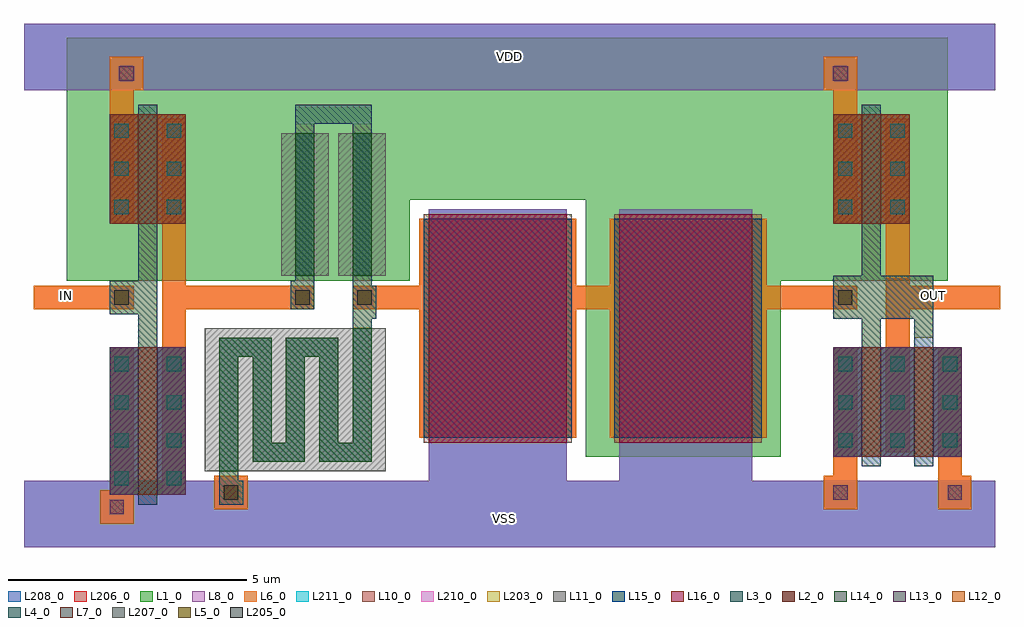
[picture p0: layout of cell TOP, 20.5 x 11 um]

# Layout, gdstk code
from math import pi, radians
import gdstk
lib = gdstk.Library(unit=1e-6, precision=1e-09)
def R(c, l, rs):  # rectangles x0, y0, x1, y1
    for r in rs: c.add(gdstk.rectangle(r[:2], r[2:], *l))
def A(c, l, x, y, w, h, nx, ny, dx, dy):  # array of equal rectangles
    R(c, l, [(x+i*dx, y+j*dy, x+i*dx+w, y+j*dy+h) for i in range(nx) for j in range(ny)])
def P(c, l, *ps):  # polygons
    for p in ps: c.add(gdstk.Polygon(p, *l))
L1_0 = (1, 0)
L2_0 = (2, 0)
L3_0 = (3, 0)
L4_0 = (4, 0)
L5_0 = (5, 0)
L6_0 = (6, 0)
L7_0 = (7, 0)
L8_0 = (8, 0)
L10_0 = (10, 0)
L11_0 = (11, 0)
L12_0 = (12, 0)
L13_0 = (13, 0)
L14_0 = (14, 0)
L15_0 = (15, 0)
L16_0 = (16, 0)
L203_0 = (203, 0)
L205_0 = (205, 0)
L206_0 = (206, 0)
L207_0 = (207, 0)
L208_0 = (208, 0)
L210_0 = (210, 0)
L211_0 = (211, 0)

d_poly_res_substrate = lib.new_cell('D$POLY_RES_SUBSTRATE')
R(d_poly_res_substrate, L203_0, [(1.5,-1.6,1.7,-1.2), (-1.7,1.2,-1.5,1.6)])

res_meander = lib.new_cell('RES_MEANDER')
R(res_meander, L11_0, [(0.2,-3.3,3.2,0.5)])
P(res_meander, L14_0, [(0.4,-1.6),(0.4,-0.5),(2.6,-0.5),(2.6,-0.2),(0.2,-0.2),(0.2,0.2),(3,0.2),(3,-0.9),(0.8,-0.9),(0.8,-1.2),(3,-1.2),(3,-1.6)],
  [(0.4,-3),(0.4,-1.9),(2.6,-1.9),(2.6,-1.6),(3,-1.6),(3,-2.3),(0.8,-2.3),(0.8,-2.6),(3.2,-2.6),(3.2,-3)])
res_meander.add(gdstk.FlexPath([(0,0),(2.8,0),(2.8,-0.7),(0.6,-0.7),(0.6,-1.4),(2.8,-1.4),(2.8,-2.1),(0.6,-2.1),(0.6,-2.8),(3.4,-2.8)], 0.4, ends="flush", simple_path=True, layer=3, datatype=0))  # L3_0
res_meander.add(gdstk.Reference(d_poly_res_substrate, (1.7,-1.4)))

d_poly_res_nwell = lib.new_cell('D$POLY_RES_NWELL')
R(d_poly_res_nwell, L203_0, [(-1.7,-0.2,-1.5,0.2), (1.5,-0.2,1.7,0.2)])

res = lib.new_cell('RES')
R(res, L11_0, [(0.2,-0.5,3.2,0.5)])
R(res, L14_0, [(0.2,-0.2,3.2,0.2)])
res.add(gdstk.FlexPath([(0,0),(3.4,0)], 0.4, ends="flush", simple_path=True, layer=3, datatype=0))  # L3_0
res.add(gdstk.Reference(d_poly_res_nwell, (1.7,0)))

trans = lib.new_cell('TRANS')
R(trans, L2_0, [(-0.8,-1.1,0.8,1.2)])
R(trans, L3_0, [(-0.2,-1.3,0.2,1.4)])
A(trans, L4_0, -0.7, -0.9, 0.3, 0.3, 1, 3, 0, 0.8)
A(trans, L4_0, 0.4, -0.9, 0.3, 0.3, 1, 3, 0, 0.8)

d_nmos_2 = lib.new_cell('D$NMOS$2')
R(d_nmos_2, L203_0, [(-0.2,-1.55,0.2,1.55)])
R(d_nmos_2, L211_0, [(-0.8,-1.55,-0.2,1.55), (0.2,-1.55,0.8,1.55)])

trans2 = lib.new_cell('TRANS2')
R(trans2, L2_0, [(-0.8,-1.1,0.8,2)])
R(trans2, L3_0, [(-0.2,-1.3,0.2,2.2)])
A(trans2, L4_0, -0.7, -0.9, 0.3, 0.3, 1, 4, 0, 0.8)
A(trans2, L4_0, 0.4, -0.9, 0.3, 0.3, 1, 4, 0, 0.8)
R(trans2, L10_0, [(-0.2,-1.1,0.2,2)])
R(trans2, L11_0, [(-0.8,-1.1,-0.2,2), (0.2,-1.1,0.8,2)])
R(trans2, L13_0, [(-0.8,-1.1,-0.2,2), (0.2,-1.1,0.8,2)])
trans2.add(gdstk.Reference(d_nmos_2, (0,0.45)))

d_mim_cap_substrate = lib.new_cell('D$MIM_CAP_SUBSTRATE')
R(d_mim_cap_substrate, L206_0, [(-1.45,-2.3,1.45,2.3)])
R(d_mim_cap_substrate, L208_0, [(-1.45,-2.3,1.45,2.3)])

d_mim_cap_nwell = lib.new_cell('D$MIM_CAP_NWELL')
R(d_mim_cap_nwell, L206_0, [(-1.4,-2.3,1.4,2.3)])
R(d_mim_cap_nwell, L208_0, [(-1.4,-2.3,1.4,2.3)])

d_nmos = lib.new_cell('D$NMOS')
R(d_nmos, L203_0, [(-0.2,-1.15,0.2,1.15)])
R(d_nmos, L211_0, [(-0.8,-1.15,-0.2,1.15), (0.2,-1.15,0.9,1.15)])

d_nmos_1 = lib.new_cell('D$NMOS$1')
R(d_nmos_1, L203_0, [(-0.2,-1.15,0.2,1.15)])
R(d_nmos_1, L211_0, [(-0.9,-1.15,-0.2,1.15), (0.2,-1.15,0.8,1.15)])

net_top_vss = lib.new_cell('NET_TOP_VSS')
R(net_top_vss, L203_0, [(1.5,-5.5,2,-5)])
R(net_top_vss, L205_0, [(1.6,-5.4,1.9,-5.1)])
R(net_top_vss, L206_0, [(-1,-5.9,-0.3,-5.2), (1.4,-5.6,2.1,-4.9), (14.2,-5.6,14.9,-4.9), (16.6,-5.6,17.3,-4.9), (-0.8,-5.5,-0.3,-2.2), (14.4,-5,14.9,-2.2), (16.6,-5,17.1,-2.2)])
R(net_top_vss, L207_0, [(-0.8,-5.7,-0.5,-5.4), (1.6,-5.4,1.9,-5.1), (14.4,-5.4,14.7,-5.1), (16.8,-5.4,17.1,-5.1)])
R(net_top_vss, L208_0, [(-2.6,-6.4,17.8,-5), (5.9,-5.8,8.8,0.7), (9.9,-5.8,12.7,0.7)])
R(net_top_vss, L211_0, [(14.4,-4.5,15,-2.2), (16.5,-4.5,17.1,-2.2)])
net_top_vss.add(gdstk.Reference(d_mim_cap_substrate, (7.35,-1.8)))
net_top_vss.add(gdstk.Reference(d_mim_cap_nwell, (11.3,-1.8)))
net_top_vss.add(gdstk.Reference(d_nmos, (15.2,-3.35)))
net_top_vss.add(gdstk.Reference(d_nmos_1, (16.3,-3.35)))
net_top_vss.add(gdstk.Reference(d_poly_res_substrate, (3.1,-3.3), rotation=pi/2))
net_top_vss.add(gdstk.Reference(d_nmos_2, (0,-3.75)))

d_pmos = lib.new_cell('D$PMOS')
R(d_pmos, L203_0, [(-0.2,-1.15,0.2,1.15)])
R(d_pmos, L210_0, [(-0.8,-1.15,-0.2,1.15), (0.2,-1.15,0.8,1.15)])

net_top_in = lib.new_cell('NET_TOP_IN')
R(net_top_in, L203_0, [(-0.2,-2.2,0.2,0.6), (-0.8,-1.5,0.2,-0.8)])
R(net_top_in, L205_0, [(-0.7,-1.3,-0.4,-1)])
R(net_top_in, L206_0, [(-2.4,-1.4,-0.3,-0.9)])
net_top_in.add(gdstk.Reference(d_pmos, (0,1.55)))
net_top_in.add(gdstk.Reference(d_nmos_2, (0,-3.75)))

net_top__3 = lib.new_cell('NET_TOP_$3')
R(net_top__3, L203_0, [(3,-1.4,3.5,-0.8)])
R(net_top__3, L205_0, [(3.1,-1.3,3.4,-1)])
R(net_top__3, L206_0, [(0.3,-5.3,0.8,2.6), (0.7,-1.4,3.5,-0.9)])
R(net_top__3, L210_0, [(0.2,0.4,0.8,2.7)])
net_top__3.add(gdstk.Reference(d_pmos, (0,1.55)))
net_top__3.add(gdstk.Reference(d_poly_res_nwell, (3.3,0.8), rotation=pi/2))
net_top__3.add(gdstk.Reference(d_poly_res_nwell, (4.5,0.8), rotation=pi/2))
net_top__3.add(gdstk.Reference(d_nmos_2, (0,-3.75)))

net_top__4 = lib.new_cell('NET_TOP_$4')
R(net_top__4, L203_0, [(15,-2.2,15.4,0.6), (16.1,-2,16.5,-0.7), (4.3,-1.6,4.8,-0.9), (14.4,-1.6,16.5,-0.7)])
R(net_top__4, L205_0, [(4.4,-1.3,4.7,-1), (14.5,-1.3,14.8,-1)])
R(net_top__4, L206_0, [(5.7,-4.1,9,0.5), (9.7,-4.1,13,0.5), (4.3,-1.4,14.9,-0.9)])
net_top__4.add(gdstk.Reference(d_mim_cap_substrate, (7.35,-1.8)))
net_top__4.add(gdstk.Reference(d_mim_cap_nwell, (11.3,-1.8)))
net_top__4.add(gdstk.Reference(d_nmos, (15.2,-3.35)))
net_top__4.add(gdstk.Reference(d_nmos_1, (16.3,-3.35)))
net_top__4.add(gdstk.Reference(d_pmos, (15.2,1.55)))
net_top__4.add(gdstk.Reference(d_poly_res_substrate, (3.1,-3.3), rotation=pi/2))
net_top__4.add(gdstk.Reference(d_poly_res_nwell, (3.3,0.8), rotation=pi/2))
net_top__4.add(gdstk.Reference(d_poly_res_nwell, (4.5,0.8), rotation=pi/2))

net_top_out = lib.new_cell('NET_TOP_OUT')
R(net_top_out, L206_0, [(15.5,-4.4,16,2.6), (15.8,-1.4,17.9,-0.9)])
R(net_top_out, L210_0, [(15.4,0.4,16,2.7)])
R(net_top_out, L211_0, [(15.4,-4.5,16.1,-2.2)])
net_top_out.add(gdstk.Reference(d_nmos, (15.2,-3.35)))
net_top_out.add(gdstk.Reference(d_nmos_1, (16.3,-3.35)))
net_top_out.add(gdstk.Reference(d_pmos, (15.2,1.55)))

net_top_vdd = lib.new_cell('NET_TOP_VDD')
R(net_top_vdd, L206_0, [(-0.8,0.4,-0.3,3.2), (14.4,0.4,14.9,3.2), (-0.8,3.2,-0.1,3.9), (14.2,3.2,14.9,3.9)])
R(net_top_vdd, L207_0, [(-0.6,3.4,-0.3,3.7), (14.4,3.4,14.7,3.7)])
R(net_top_vdd, L208_0, [(-2.6,3.2,17.8,4.6)])
R(net_top_vdd, L210_0, [(-0.8,0.4,-0.2,2.7), (14.4,0.4,15,2.7)])
net_top_vdd.add(gdstk.Reference(d_pmos, (15.2,1.55)))
net_top_vdd.add(gdstk.Reference(d_pmos, (0,1.55)))

net_top_bulk = lib.new_cell('NET_TOP_BULK')
net_top_bulk.add(gdstk.Reference(d_mim_cap_substrate, (7.35,-1.8)))
net_top_bulk.add(gdstk.Reference(d_nmos, (15.2,-3.35)))
net_top_bulk.add(gdstk.Reference(d_nmos_1, (16.3,-3.35)))
net_top_bulk.add(gdstk.Reference(d_poly_res_substrate, (3.1,-3.3), rotation=pi/2))
net_top_bulk.add(gdstk.Reference(d_nmos_2, (0,-3.75)))

net_top_nwell = lib.new_cell('NET_TOP_NWELL')
net_top_nwell.add(gdstk.Reference(d_mim_cap_nwell, (11.3,-1.8)))
net_top_nwell.add(gdstk.Reference(d_pmos, (0,1.55)))
net_top_nwell.add(gdstk.Reference(d_pmos, (15.2,1.55)))
net_top_nwell.add(gdstk.Reference(d_poly_res_nwell, (3.3,0.8), rotation=pi/2))
net_top_nwell.add(gdstk.Reference(d_poly_res_nwell, (4.5,0.8), rotation=pi/2))

top = lib.new_cell('TOP')
P(top, L1_0, [(9.2,-4.5),(9.2,0.9),(5.5,0.9),(5.5,-0.8),(-1.7,-0.8),(-1.7,4.3),(16.8,4.3),(16.8,-0.8),(13.3,-0.8),(13.3,-4.5)])
R(top, L3_0, [(1.5,-5.5,2,-5), (-0.2,-2.2,0.2,0.6), (15,-2.2,15.4,0.6), (16.1,-2,16.5,-0.7), (4.3,-1.6,4.8,-0.9), (14.4,-1.6,16.5,-0.7), (-0.8,-1.5,0.2,-0.8), (3,-1.4,3.5,-0.8), (3.1,2.5,4.7,2.9)])
R(top, L5_0, [(1.6,-5.4,1.9,-5.1), (-0.7,-1.3,-0.4,-1), (3.1,-1.3,3.4,-1), (4.4,-1.3,4.7,-1), (14.5,-1.3,14.8,-1)])
R(top, L6_0, [(-1,-5.9,-0.3,-5.2), (1.4,-5.6,2.1,-4.9), (14.2,-5.6,14.9,-4.9), (16.6,-5.6,17.3,-4.9), (-0.8,-5.5,-0.3,-2.2), (0.3,-5.3,0.8,2.6), (14.4,-5,14.9,-2.2), (16.6,-5,17.1,-2.2), (15.5,-4.4,16,2.6), (5.7,-4.1,9,0.5), (9.7,-4.1,13,0.5), (-2.4,-1.4,-0.3,-0.9), (0.7,-1.4,3.5,-0.9), (4.3,-1.4,14.9,-0.9), (15.8,-1.4,17.9,-0.9), (-0.8,0.4,-0.3,3.2), (14.4,0.4,14.9,3.2), (-0.8,3.2,-0.1,3.9), (14.2,3.2,14.9,3.9)])
R(top, L7_0, [(-0.8,-5.7,-0.5,-5.4), (1.6,-5.4,1.9,-5.1), (14.4,-5.4,14.7,-5.1), (16.8,-5.4,17.1,-5.1), (-0.6,3.4,-0.3,3.7), (14.4,3.4,14.7,3.7)])
R(top, L8_0, [(-2.6,-6.4,17.8,-5), (5.9,-5.8,8.8,0.7), (9.9,-5.8,12.7,0.7), (-2.6,3.2,17.8,4.6)])
R(top, L10_0, [(15,-4.5,15.4,-2.2), (16.1,-4.5,16.5,-2.2), (5.8,-4.2,8.9,0.6), (9.8,-4.2,12.9,0.6), (-0.2,0.4,0.2,2.7), (15,0.4,15.4,2.7)])
R(top, L11_0, [(14.4,-4.5,15,-2.2), (15.4,-4.5,16.1,-2.2), (16.5,-4.5,17.1,-2.2), (-0.8,0.4,-0.2,2.7), (0.2,0.4,0.8,2.7), (14.4,0.4,15,2.7), (15.4,0.4,16,2.7)])
R(top, L12_0, [(-0.8,0.4,-0.2,2.7), (0.2,0.4,0.8,2.7), (14.4,0.4,15,2.7), (15.4,0.4,16,2.7)])
R(top, L13_0, [(14.4,-4.5,15,-2.2), (15.4,-4.5,16.1,-2.2), (16.5,-4.5,17.1,-2.2)])
R(top, L15_0, [(5.8,-4.1,8.9,0.5), (9.8,-4.1,12.9,0.5)])
R(top, L16_0, [(5.9,-4.2,8.8,0.6), (9.9,-4.2,12.7,0.6)])
top.add(gdstk.Reference(res_meander, (1.7,-5), rotation=pi/2))
top.add(gdstk.Reference(res, (3.3,-0.9), rotation=pi/2))
top.add(gdstk.Reference(res, (4.5,-0.9), rotation=pi/2))
top.add(gdstk.Reference(trans, (15.2,-3.4)))
top.add(gdstk.Reference(trans, (16.3,-3.4)))
top.add(gdstk.Reference(trans, (0,1.5)))
top.add(gdstk.Reference(trans, (15.2,1.5)))
top.add(gdstk.Reference(trans2, (0,-4.2)))
top.add(gdstk.Reference(net_top_vss, (0,0)))
top.add(gdstk.Reference(net_top_in, (0,0)))
top.add(gdstk.Reference(net_top__3, (0,0)))
top.add(gdstk.Reference(net_top__4, (0,0)))
top.add(gdstk.Reference(net_top_out, (0,0)))
top.add(gdstk.Reference(net_top_vdd, (0,0)))
top.add(gdstk.Reference(net_top_bulk, (0,0)))
top.add(gdstk.Reference(net_top_nwell, (0,0)))
top.add(gdstk.Reference(d_pmos, (15.2,1.55)))
top.add(gdstk.Reference(d_pmos, (0,1.55)))
top.add(gdstk.Reference(d_nmos, (15.2,-3.35)))
top.add(gdstk.Reference(d_nmos_1, (16.3,-3.35)))
top.add(gdstk.Reference(d_mim_cap_substrate, (7.35,-1.8)))
top.add(gdstk.Reference(d_mim_cap_nwell, (11.3,-1.8)))
top.add(gdstk.Label('IN', (-1.7,-1.1), layer=6, texttype=1))
top.add(gdstk.Label('OUT', (16.5,-1.1), layer=6, texttype=1))
top.add(gdstk.Label('VSS', (7.5,-5.8), layer=8, texttype=1))
top.add(gdstk.Label('VDD', (7.6,3.9), layer=8, texttype=1))

lib.write_gds('TOP.gds')
